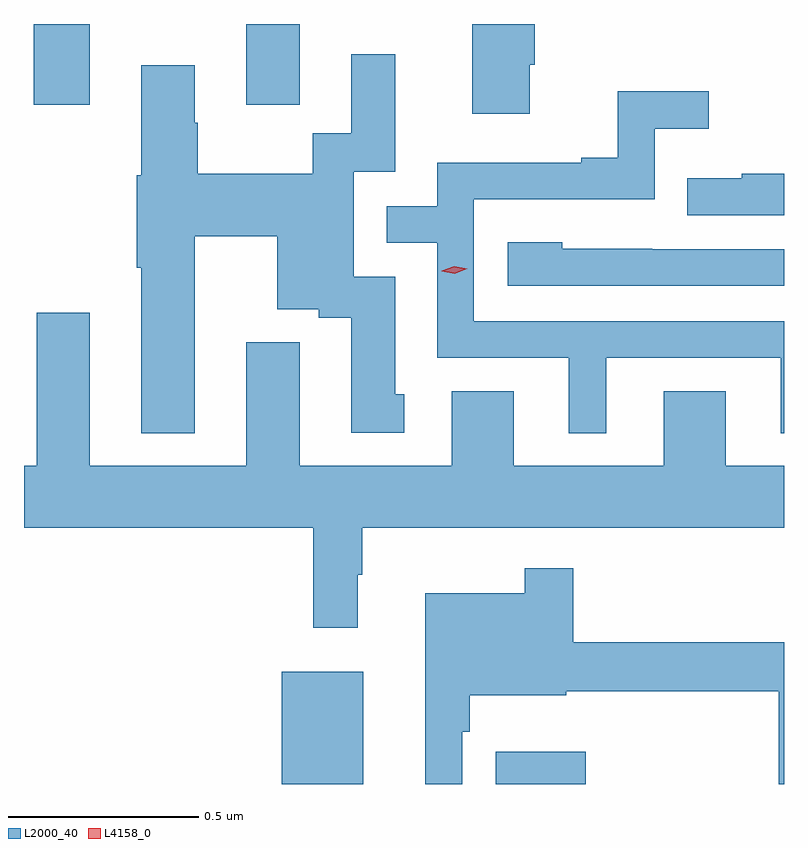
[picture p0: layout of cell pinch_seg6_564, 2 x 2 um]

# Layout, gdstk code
import gdstk
lib = gdstk.Library(unit=1e-6, precision=1e-09)
def R(c, l, rs):  # rectangles x0, y0, x1, y1
    for r in rs: c.add(gdstk.rectangle(r[:2], r[2:], *l))
def P(c, l, *ps):  # polygons
    for p in ps: c.add(gdstk.Polygon(p, *l))
L2000_40 = (2000, 40)
L4158_0 = (4158, 0)

pinch_seg6_564 = lib.new_cell('pinch_seg6_564')
R(pinch_seg6_564, L2000_40, [(526.55,987.954,526.765,988.249), (527.114,987.954,527.35,988.039), (525.898,989.742,526.045,989.954), (526.457,989.742,526.597,989.954)])
P(pinch_seg6_564, L2000_40, [(527.203,989.847),(527.216,989.847),(527.216,989.954),(527.051,989.954),(527.051,989.718),(527.203,989.718)],
  [(526.321,989.396),(526.538,989.396),(526.538,989.204),(526.647,989.204),(526.647,989.181),(526.733,989.181),(526.733,988.878),(526.873,988.878),(526.873,988.98),(526.849,988.98),(526.849,989.289),(526.74,989.289),(526.74,989.565),(526.849,989.565),(526.849,989.875),(526.733,989.875),(526.733,989.666),(526.632,989.666),(526.632,989.56),(526.329,989.56),(526.329,989.694),(526.321,989.694),(526.321,989.845),(526.181,989.845),(526.181,989.556),(526.169,989.556),(526.169,989.312),(526.181,989.312),(526.181,988.877),(526.321,988.877)],
  [(527.404,989.076),(527.864,989.076),(527.864,988.877),(527.872,988.877),(527.872,989.172),(527.055,989.172),(527.055,989.493),(527.532,989.493),(527.532,989.678),(527.674,989.678),(527.674,989.777),(527.434,989.777),(527.434,989.602),(527.339,989.602),(527.339,989.589),(526.959,989.589),(526.959,989.475),(526.826,989.475),(526.826,989.379),(526.959,989.379),(526.959,989.076),(527.306,989.076),(527.306,988.877),(527.404,988.877)],
  [(527.872,989.56),(527.761,989.56),(527.761,989.548),(527.617,989.548),(527.617,989.451),(527.872,989.451)],
  [(527.872,989.361),(527.525,989.361),(527.525,989.362),(527.289,989.362),(527.289,989.38),(527.145,989.38),(527.145,989.265),(527.872,989.265)],
  [(526.75,988.505),(526.762,988.505),(526.762,988.628),(527.872,988.628),(527.872,988.792),(527.719,988.792),(527.719,988.987),(527.555,988.987),(527.555,988.792),(527.161,988.792),(527.161,988.987),(526.997,988.987),(526.997,988.792),(526.597,988.792),(526.597,989.116),(526.457,989.116),(526.457,988.792),(526.045,988.792),(526.045,989.194),(525.905,989.194),(525.905,988.792),(525.872,988.792),(525.872,988.628),(526.633,988.628),(526.633,988.365),(526.75,988.365)],
  [(527.025,988.091),(527.045,988.091),(527.045,988.187),(527.299,988.187),(527.299,988.198),(527.858,988.198),(527.858,987.954),(527.872,987.954),(527.872,988.327),(527.318,988.327),(527.318,988.522),(527.19,988.522),(527.19,988.456),(526.928,988.456),(526.928,987.954),(527.025,987.954)])
P(pinch_seg6_564, L4158_0, [(527.006,989.297),(526.971,989.304),(526.971,989.305),(526.971,989.305),(527.004,989.317),(527.039,989.31),(527.039,989.31),(527.039,989.31)])

lib.write_gds('pinch_seg6_564.gds')
